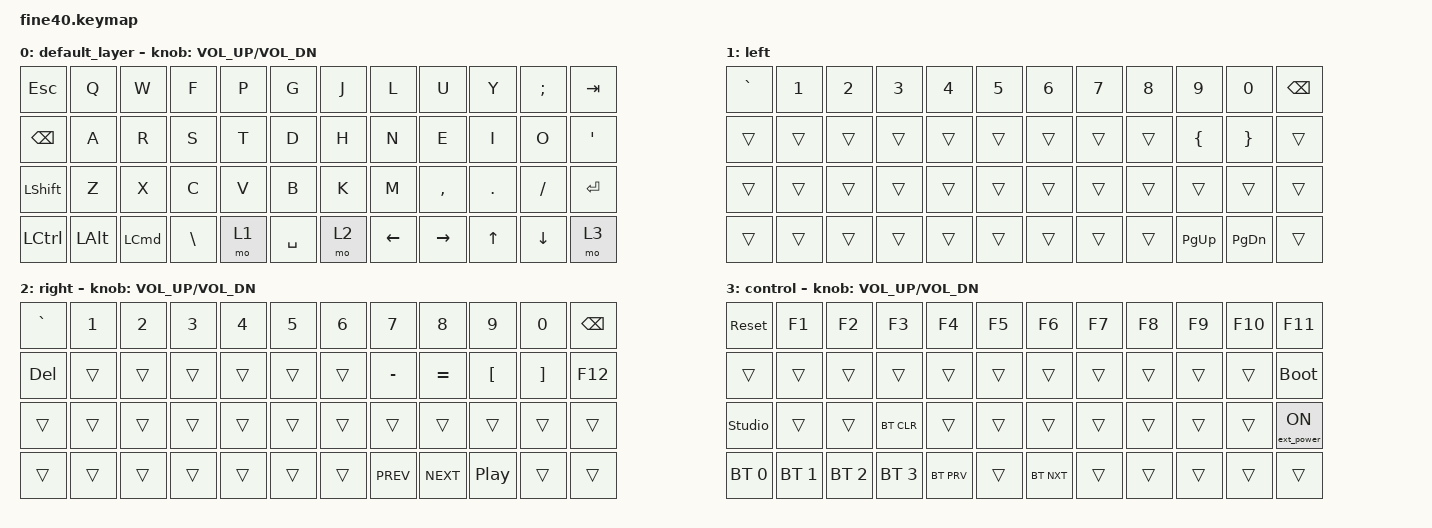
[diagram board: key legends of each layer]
/*
 * Aidan Smith (2021)
 *
 * SPDX-License-Identifier: MIT
 */

#include <behaviors.dtsi>
#include <dt-bindings/zmk/keys.h>
#include <dt-bindings/zmk/bt.h>
#include <dt-bindings/zmk/ext_power.h>

/ {
	keymap {
		compatible = "zmk,keymap";

		default_layer {
			bindings = <
				&kp ESC	   &kp Q    &kp W    &kp F    &kp P &kp G     &kp J       &kp L     &kp U     &kp Y     &kp SEMI     &kp TAB
				&kp BSPC &kp A    &kp R    &kp S    &kp T &kp D     &kp H       &kp N     &kp E     &kp I     &kp O  &kp SQT
				&kp LSHFT &kp Z    &kp X    &kp C    &kp V &kp B     &kp K       &kp M     &kp COMMA &kp DOT   &kp FSLH  &kp RET
				&kp LEFT_CONTROL &kp LEFT_ALT &kp LEFT_COMMAND &kp BSLH &mo 1 &kp SPACE &mo 2 &kp LEFT  &kp RIGHT    &kp UP  &kp DOWN &mo 3
			>;

			sensor-bindings = <&inc_dec_kp C_VOL_UP C_VOL_DN>;
		};

		left {
			bindings = <
				&kp GRAVE &kp N1 &kp N2 &kp N3 &kp N4 &kp N5 &kp N6 &kp N7    &kp N8    &kp N9    &kp N0   &kp BSPC
				&trans    &trans &trans &trans &trans &trans &trans &trans &trans  &kp LBRC  &kp RBRC &trans
				&trans    &trans &trans &trans &trans &trans &trans &trans    &trans    &trans    &trans   &trans
				&trans    &trans &trans &trans &trans &trans &trans &trans  &trans &kp PG_UP &kp PG_DN  &trans
			>;
		};

		right {
			bindings = <
				&kp GRAVE &kp N1 &kp N2 &kp N3 &kp N4 &kp N5 &kp N6 &kp N7    &kp N8    &kp N9    &kp N0   &kp BSPC
				&kp DEL        &trans 	 &trans     &trans     &trans     &trans     &trans     &kp MINUS  &kp EQUAL     &kp LBKT     &kp RBKT   &kp F12
				&trans        &trans     &trans     &trans     &trans     &trans     &trans     &trans     &trans	&trans	&trans     &trans
				&trans        &trans     &trans     &trans     &trans     &trans     &trans     &kp C_PREV	   &kp C_NEXT  &kp C_PP &trans   &trans
			>;

			sensor-bindings = <&inc_dec_kp C_VOL_UP C_VOL_DN>;
		};

		control {
			bindings = <
				&sys_reset &kp F1 &kp F2 &kp F3 &kp F4 &kp F5 &kp F6 &kp F7 &kp F8   &kp F9   &kp F10 &kp F11
				&trans     &trans     &trans    &trans    &trans    &trans &trans &trans &trans &trans &trans &bootloader
				&studio_unlock     &trans      &trans     &bt BT_CLR     &trans     &trans  &trans  &trans  &trans  &trans  &trans &ext_power EP_ON
				&bt BT_SEL 0     &bt BT_SEL 1      &bt BT_SEL 2     &bt BT_SEL 3     &bt BT_PRV     &trans  &bt BT_NXT  &trans  &trans  &trans  &trans  &trans
			>;

			sensor-bindings = <&inc_dec_kp C_VOL_UP C_VOL_DN>;
		};
	};
};
